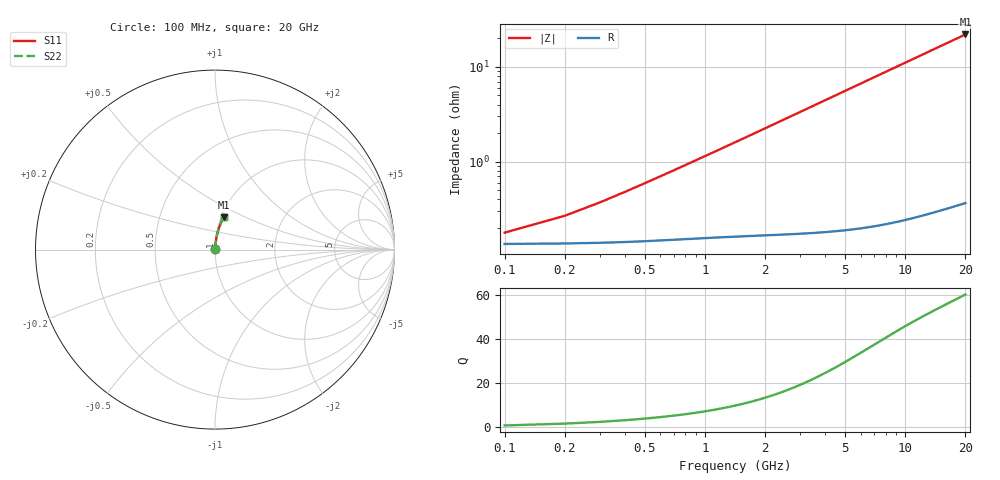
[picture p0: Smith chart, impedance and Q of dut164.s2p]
! Touchstone file exported from HFSS 2026.1.0
!  File:  C:/ffzhzh/LocalFiles/Ansys_Project_Files/temp_train_TMRDL_164_1782983360_45328.aedt
!  Generated:  05:10:35 PM Jul  2, 2026
!  Design:  TMRDL
!  Project:  temp_train_TMRDL_164_1782983360_45328
! Variables:
!  h_bsmrdl = 2um
!  h_ox = 20um
!  h_rdl = 5um
!  h_sub = 80um
!  h_tmrdl = 2.38um
!  h_tsv = 80um
!  h_via = 3um
!  l_bsmrdl = 300um
!  l_sub = 515.01um
!  l_tmrdl = 115.01um
!  m_sub = 200um
!  pitch = 59.85um
!  r_tsv = 6um
!  s_tmrdl = 10um
!  w_bsmrdl = 18um
!  w_sub = 500um
!  w_tmrdl = 16.63um
!  x_tsv_center1 = 123.325um
!  x_tsv_center2 = 441.325um
!  x_tsv_center3 = 572.965um
!  x_tsv_center4 = 890.965um
!  x_tsv_center5 = 1022.605um
!  x_tsv_center6 = 1340.605um
# GHz S MA R 50.000000
! Terminal data exported
! Port[1] = TM_RDL1_1_T1
! Port[2] = TM_RDL1_1_T2
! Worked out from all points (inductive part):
!   200 points, 100 MHz to 20 GHz, reference 50 ohm
!   read as one part in series: L = 182 pH near 400 MHz
!   highest Q = 60.3 at 20 GHz (marker M1), where L = 175 pH
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0.1  0.001687 36.7  0.9986 -0.1  0.9986 -0.1  0.001687 36.7
! Gamma 0 0 0 0
! Port Impedance 50 0 50 0
0.2  0.002436 55.8  0.9986 -0.1  0.9986 -0.1  0.002436 55.8
0.3  0.003321 65.1  0.9986 -0.2  0.9986 -0.2  0.003321 65.1
0.4  0.004251 70.3  0.9986 -0.3  0.9986 -0.3  0.004251 70.3
0.5  0.005198 73.5  0.9985 -0.4  0.9985 -0.4  0.005198 73.5
0.6  0.00615 75.7  0.9985 -0.4  0.9985 -0.4  0.00615 75.7
0.8  0.008059 78.6  0.9985 -0.6  0.9985 -0.6  0.008059 78.6
1.1  0.01093 80.9  0.9984 -0.8  0.9984 -0.8  0.01093 80.9
1.5  0.01475 82.6  0.9983 -1.1  0.9983 -1.1  0.01475 82.6
1.8  0.01763 83.3  0.9982 -1.3  0.9982 -1.3  0.01763 83.3
2.1  0.02052 83.8  0.9981 -1.5  0.9981 -1.5  0.02052 83.8
2.7  0.02629 84.3  0.9979 -1.9  0.9979 -1.9  0.02629 84.3
3.5  0.03399 84.5  0.9977 -2.5  0.9977 -2.5  0.03399 84.5
4.2  0.04072 84.4  0.9974 -3.0  0.9974 -3.0  0.04072 84.4
5  0.04841 84.2  0.997 -3.6  0.997 -3.6  0.04841 84.2
5.9  0.05703 83.8  0.9964 -4.2  0.9964 -4.2  0.05703 83.8
6.8  0.06564 83.3  0.9958 -4.9  0.9958 -4.9  0.06564 83.3
8.3  0.07991 82.5  0.9946 -6.0  0.9946 -6.0  0.07991 82.5
10.1  0.09691 81.3  0.9929 -7.2  0.9929 -7.2  0.09691 81.3
13.4  0.1277 79.2  0.989 -9.5  0.989 -9.5  0.1277 79.2
16.7  0.1578 77.0  0.9843 -11.8  0.9843 -11.8  0.1578 77.0
20  0.1873 74.8  0.9787 -14.1  0.9787 -14.1  0.1873 74.8
